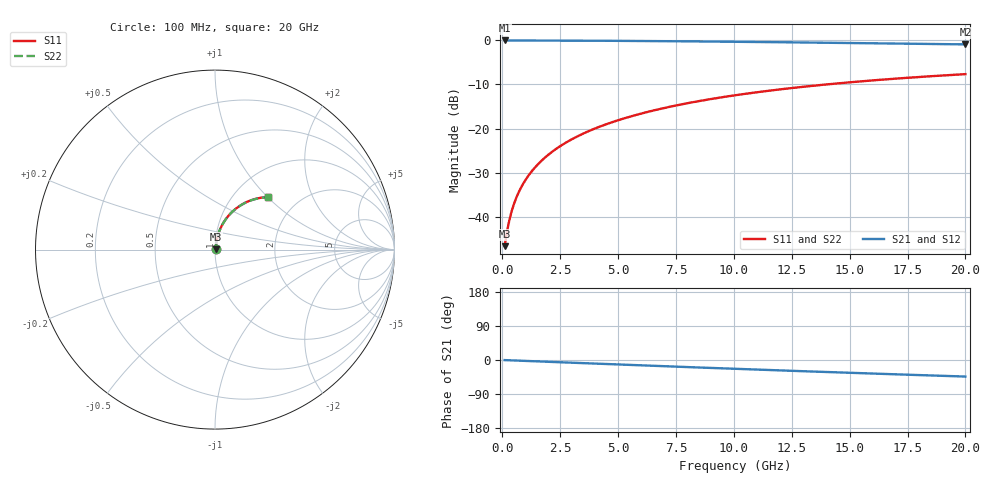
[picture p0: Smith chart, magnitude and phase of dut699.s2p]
! Touchstone file exported from HFSS 2026.1.0
!  File:  C:/ffzhzh/LocalFiles/Ansys_Project_Files/temp_train_BSMRDL_699_1783017848_51716.aedt
!  Generated:  02:45:33 AM Jul  3, 2026
!  Design:  BSMRDL
!  Project:  temp_train_BSMRDL_699_1783017848_51716
! Variables:
!  h_bsmrdl = 2.87um
!  h_ox = 20um
!  h_rdl = 5um
!  h_sub = 80um
!  h_tmrdl = 5um
!  h_tsv = 80um
!  h_via = 3um
!  l_bsmrdl = 623.2um
!  l_sub = 1023.2um
!  l_tmrdl = 200um
!  m_sub = 200um
!  pitch = 50.18um
!  r_tsv = 6um
!  s_tmrdl = 10um
!  w_bsmrdl = 21.78um
!  w_sub = 500um
!  w_tmrdl = 12um
!  x_tsv_center1 = 206um
!  x_tsv_center2 = 850.98um
!  x_tsv_center3 = 1062.98um
!  x_tsv_center4 = 1707.96um
!  x_tsv_center5 = 1919.96um
!  x_tsv_center6 = 2564.94um
# GHz S MA R 50.000000
! Terminal data exported
! Port[1] = BSM_RDL1_1_T1
! Port[2] = BSM_RDL1_1_T2
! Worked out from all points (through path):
!   200 points, 100 MHz to 20 GHz, reference 50 ohm
!   highest |S21| = -0.03 dB at 100 MHz (marker M1); lowest = -0.9 dB at 20 GHz (marker M2)
!   group delay of S21, straight-line fit = 6.08 ps
!   lowest |S11| = -46.6 dB at 100 MHz (marker M3), VSWR 1.01, Z = 50.4 + j0.277 ohm
!   |S11| at or under -10 dB: start of sweep to 13.99 GHz
!   |S22| runs from -46.6 to -7.7 dB; largest |S21 - S12| = 3e-15
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0.1  0.004661 36.1  0.9962 -0.3  0.9962 -0.3  0.004661 36.1
! Gamma 0 0 0 0
! Port Impedance 50 0 50 0
0.2  0.006713 54.2  0.9961 -0.5  0.9961 -0.5  0.006713 54.2
0.3  0.009069 62.8  0.9959 -0.7  0.9959 -0.7  0.009069 62.8
0.4  0.01149 67.6  0.9957 -1.0  0.9957 -1.0  0.01149 67.6
0.5  0.01393 70.7  0.9956 -1.2  0.9956 -1.2  0.01393 70.6
0.6  0.01636 72.8  0.9954 -1.5  0.9954 -1.5  0.01636 72.8
0.8  0.02124 75.5  0.9952 -1.9  0.9952 -1.9  0.02124 75.5
1.1  0.02861 77.8  0.9948 -2.6  0.9948 -2.6  0.02861 77.7
1.3  0.03354 78.6  0.9946 -3.1  0.9946 -3.1  0.03354 78.6
1.6  0.04097 79.3  0.9942 -3.8  0.9942 -3.8  0.04097 79.2
2.1  0.05337 79.5  0.9935 -5.0  0.9935 -5.0  0.05338 79.5
2.7  0.06824 79.2  0.9924 -6.4  0.9924 -6.4  0.06824 79.2
3.5  0.08796 78.1  0.9906 -8.3  0.9906 -8.3  0.08796 78.1
4.2  0.1051 76.9  0.9887 -9.9  0.9887 -9.9  0.1051 76.9
5  0.1244 75.4  0.9861 -11.8  0.9861 -11.8  0.1244 75.4
5.9  0.1457 73.6  0.9828 -13.9  0.9828 -13.9  0.1457 73.5
6.8  0.1667 71.7  0.9791 -16.0  0.9791 -16.0  0.1667 71.6
8.3  0.2006 68.5  0.972 -19.4  0.972 -19.4  0.2006 68.4
10.1  0.2395 64.7  0.9624 -23.4  0.9624 -23.4  0.2395 64.6
13.4  0.3052 57.8  0.9426 -30.4  0.9426 -30.4  0.3053 57.7
16.7  0.3634 51.2  0.9211 -37.2  0.9211 -37.2  0.3634 51.1
20  0.4138 44.9  0.8992 -43.7  0.8992 -43.7  0.4139 44.7
